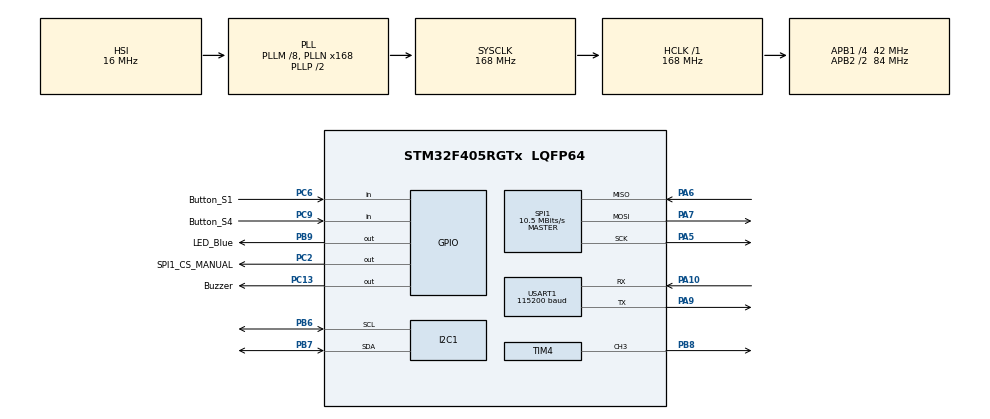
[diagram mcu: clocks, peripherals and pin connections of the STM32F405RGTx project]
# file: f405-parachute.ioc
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I2C1.I2C_Mode=I2C_Fast
Mcu.Family=STM32F4
Mcu.Name=STM32F405RGTx
Mcu.Package=LQFP64
NVIC.PriorityGroup=NVIC_PRIORITYGROUP_4
PA10.Mode=Asynchronous
PA10.Signal=USART1_RX
PA5.Mode=Full_Duplex_Master
PA5.Signal=SPI1_SCK
PA6.Mode=Full_Duplex_Master
PA6.Signal=SPI1_MISO
PA7.Mode=Full_Duplex_Master
PA7.Signal=SPI1_MOSI
PA9.Mode=Asynchronous
PA9.Signal=USART1_TX
PB6.Mode=I2C
PB6.Signal=I2C1_SCL
PB7.Mode=I2C
PB7.Signal=I2C1_SDA
PB8.Signal=S_TIM4_CH3
PB9.GPIO_Label=LED_Blue
PB9.Signal=GPIO_Output
PC13-ANTI_TAMP.GPIO_Label=Buzzer
PC13-ANTI_TAMP.GPIO_PuPd=GPIO_NOPULL
PC13-ANTI_TAMP.Signal=GPIO_Output
PC2.GPIO_Label=SPI1_CS_MANUAL
PC2.GPIO_PuPd=GPIO_PULLDOWN
PC2.PinState=GPIO_PIN_RESET
PC2.Signal=GPIO_Output
PC6.GPIO_Label=Button_S1
PC6.GPIO_PuPd=GPIO_PULLUP
PC6.Signal=GPIO_Input
PC9.GPIO_Label=Button_S4
PC9.GPIO_PuPd=GPIO_PULLUP
PC9.Signal=GPIO_Input
ProjectManager.HeapSize=0x200
ProjectManager.StackSize=0x400
ProjectManager.TargetToolchain=STM32CubeIDE
RCC.48MHZClocksFreq_Value=48000000
RCC.AHBFreq_Value=168000000
RCC.APB1CLKDivider=RCC_HCLK_DIV4
RCC.APB1Freq_Value=42000000
RCC.APB1TimFreq_Value=84000000
RCC.APB2CLKDivider=RCC_HCLK_DIV2
RCC.APB2Freq_Value=84000000
RCC.APB2TimFreq_Value=168000000
RCC.CortexFreq_Value=168000000
RCC.HCLKFreq_Value=168000000
RCC.HSE_VALUE=25000000
RCC.HSI_VALUE=16000000
RCC.LSE_VALUE=32768
RCC.PLLM=8
RCC.PLLN=168
RCC.PLLQ=7
RCC.SYSCLKFreq_VALUE=168000000
RCC.SYSCLKSource=RCC_SYSCLKSOURCE_PLLCLK
RCC.VCOOutputFreq_Value=336000000
SH.S_TIM4_CH3.0=TIM4_CH3,PWM Generation3 CH3
SPI1.BaudRatePrescaler=SPI_BAUDRATEPRESCALER_8
SPI1.CalculateBaudRate=10.5 MBits/s
SPI1.Direction=SPI_DIRECTION_2LINES
SPI1.Mode=SPI_MODE_MASTER
SPI1.VirtualType=VM_MASTER
TIM4.Channel-PWM\ Generation3\ CH3=TIM_CHANNEL_3
TIM4.Period=1000
TIM4.Prescaler=1680
USART1.BaudRate=115200
USART1.VirtualMode=VM_ASYNC
VP_RNG_VS_RNG.Mode=RNG_Activate
VP_TIM4_VS_ClockSourceINT.Mode=Internal
board=custom

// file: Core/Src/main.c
/* USER CODE BEGIN Header */
/**
  ******************************************************************************
  * @file           : main.c
  * @brief          : Main program body
  ******************************************************************************
  * @attention
  *
  * <h2><center>&copy; Copyright (c) 2021 STMicroelectronics.
  * All rights reserved.</center></h2>
  *
  * This software component is licensed by ST under BSD 3-Clause license,
  * the "License"; You may not use this file except in compliance with the
  * License. You may obtain a copy of the License at:
  *                        opensource.org/licenses/BSD-3-Clause
  *
  ******************************************************************************
  */
/* USER CODE END Header */
#include "main.h"

/* USER CODE BEGIN Includes */
#include <stdio.h>
#include <stdlib.h>
#include <stdarg.h>
#include <time.h>
#include <string.h>
#include <math.h>
#include "bmp280.h"
#include "icm20602.h"
/* USER CODE END Includes */

/* USER CODE BEGIN PM */

#define ICM_I2C_ADDR 0x69
/* sensor ODR limit */
#define MIN_ODR_US        1000
#define MAX_ODR_US       20000
#define DEFAULT_ODR_US   20000

/* USER CODE END PM */

I2C_HandleTypeDef hi2c1;

RNG_HandleTypeDef hrng;

SPI_HandleTypeDef hspi1;

TIM_HandleTypeDef htim4;

UART_HandleTypeDef huart1;

void SystemClock_Config(void);
static void MX_GPIO_Init(void);
static void MX_I2C1_Init(void);
static void MX_USART1_UART_Init(void);
static void MX_RNG_Init(void);
static void MX_SPI1_Init(void);
static void MX_TIM4_Init(void);

/* USER CODE BEGIN 0 */

// Minimal version, without OLED, builtin BEC and HC-12 module

#define Button_Debug_Pin Button_S1_Pin
#define Button_Pin Button_S4_Pin

char str_buffer[256] = "";

static void debug_printf(const char* format, ...) {
  static char buff[1024];
  va_list argptr;
  va_start(argptr, format);
  vsnprintf(buff, 1023, format, argptr);
  va_end(argptr);
  const size_t len = strlen(buff);
  HAL_UART_Transmit(&huart1, (uint8_t*)buff, len, 1000);
}

int8_t _icm20602_hal_rd(uint8_t id, uint8_t reg, uint8_t * data, uint16_t len) {
  reg |= 128; // set first bit to 1 to read from spi register
  HAL_GPIO_WritePin(GPIOC, SPI1_CS_MANUAL_Pin, GPIO_PIN_RESET);
  HAL_StatusTypeDef s;
  s = HAL_SPI_Transmit(&hspi1, &reg, 1, 1000);
  s = s ? s : HAL_SPI_Receive(&hspi1, data, len, 1000);
  HAL_GPIO_WritePin(GPIOC, SPI1_CS_MANUAL_Pin, GPIO_PIN_SET);
  return s;
}

int8_t _icm20602_hal_wr(uint8_t id, uint8_t reg, uint8_t * data, uint16_t len) {
  HAL_GPIO_WritePin(GPIOC, SPI1_CS_MANUAL_Pin, GPIO_PIN_RESET);
  HAL_StatusTypeDef s;
  s = HAL_SPI_Transmit(&hspi1, &reg, 1, 1000);
  s = s ? s : HAL_SPI_Transmit(&hspi1, data, len, 1000);
  HAL_GPIO_WritePin(GPIOC, SPI1_CS_MANUAL_Pin, GPIO_PIN_SET);
  return s;
}

float altitude_from_pressure_and_temp(float pressure, float temperature) {
  static float pressure0 = 101325;
  return ((pow(pressure0 / pressure, 1 / 5.257) - 1) * (temperature + 273.15)) / 0.0065;
}

float altitude_from_pressure(float pressure) {
  static float pressure0 = 101325;
  return  44330 * (1.0 - pow(pressure / pressure0, 0.1903));
}

float accel_abs(float ax, float ay, float az) {
  return sqrtf(powf(ax, 2) + pow(ay, 2) + pow(az, 2));
}

typedef struct {
  uint32_t interval;
  uint32_t last;
  uint32_t skipped;
} ticker_t;

ticker_t create_ticker(uint32_t interval) {
  return (ticker_t) { interval, 0, 0 };
}

bool tick(ticker_t* t) {
  uint32_t now = HAL_GetTick();
  if (now - t->last >= t->interval) {
    t->last = now;
    t->skipped = 0;
  } else
    t->skipped++;
  return !t->skipped;
}

typedef struct button_t {
  GPIO_TypeDef* GPIOx;
  uint16_t GPIO_Pin;
  uint32_t doubleclickInterval;
  uint32_t pressedAt;
  bool _reading1;
  bool _reading2;
  bool _reading3;
  bool pressed;
  bool changed;
  bool doubleclicked;
  bool toggleReleased;
  bool togglePressed;
  bool toggleDoubleclicked;
} button_t;

void update_button(button_t* button, uint32_t now) {
  button->_reading1 = button->_reading2;
  button->_reading2 = button->_reading3;
  button->_reading3 = !HAL_GPIO_ReadPin(button->GPIOx, button->GPIO_Pin);
  bool reading = button->_reading1 + button->_reading2 + button->_reading3 >= 2;
  button->doubleclicked = false;
  button->changed = false;
  if (button->pressed != reading) {
    button->pressed = reading;
    button->changed = true;
    if (button->pressed) {
      button->togglePressed = !button->togglePressed;
      if (now - button->pressedAt < button->doubleclickInterval) {
        button->doubleclicked = true;
        button->toggleDoubleclicked = !button->toggleDoubleclicked;
      }
      button->pressedAt = now;
    }
    else
      button->toggleReleased = !button->toggleReleased;
  } else
    button->changed = false;
}
void beep(uint8_t count, uint16_t duration, uint16_t silence) {
  for (uint8_t i = 0; i < count; i++) {
    HAL_GPIO_WritePin(GPIOC, Buzzer_Pin, GPIO_PIN_SET);
    HAL_Delay(duration);
    HAL_GPIO_WritePin(GPIOC, Buzzer_Pin, GPIO_PIN_RESET);
    HAL_Delay(silence);
  }
}

void on_armed() {
  HAL_GPIO_WritePin(GPIOB, LED_Blue_Pin, GPIO_PIN_RESET);
  beep(3, 50, 50);
}

void on_disarmed() {
  htim4.Instance->CCR3 =  75; // duty cycle is 1.5 ms -  90 deg
  beep(3, 50, 50);
}

void on_alarm() {
  //htim4.Instance->CCR3 =  25; // duty cycle is 0.5 ms -   0 deg
  //htim4.Instance->CCR3 =  75; // duty cycle is 1.5 ms -  90 deg
  htim4.Instance->CCR3 = 125; // duty cycle is 2.5 ms - 180 deg
}

/* USER CODE END 0 */

int main(void)
{

  /* MCU Configuration--------------------------------------------------------*/

  /* Reset of all peripherals, Initializes the Flash interface and the Systick. */
  HAL_Init();

  /* Configure the system clock */
  SystemClock_Config();

  /* Initialize all configured peripherals */
  MX_GPIO_Init();
  MX_I2C1_Init();
  MX_USART1_UART_Init();
  MX_RNG_Init();
  MX_SPI1_Init();
  MX_TIM4_Init();
  /* USER CODE BEGIN 2 */

  srand(HAL_GetTick());

  HAL_TIM_PWM_Start(&htim4, TIM_CHANNEL_3);

  struct icm20602_dev icm20602 = ICM20602_DEFAULT_INIT();
  icm20602.i2c_disable = true;
  icm20602.hal_sleep = HAL_Delay;
  icm20602.hal_rd = _icm20602_hal_rd;
  icm20602.hal_wr = _icm20602_hal_wr;
  icm20602.accel_dlpf = ICM20602_ACCEL_DLPF_BYPASS_1046_HZ;
  icm20602_init(&icm20602);

  ticker_t blink_ticker = create_ticker(1000);
  ticker_t blink_ticker_alarm = create_ticker(200);
  button_t button = { GPIOC, Button_Pin, 300 };

  ticker_t buzzer_alarm_ticker = create_ticker(200);
  ticker_t buzzer_disarm_ticker = create_ticker(500);

  bool armed = false;
  uint32_t arm_pressed = 0;
  uint32_t arm_timeout = 1000;

  bool alarm = false;

  bool low_g_detected = false;
  uint32_t low_g_detected_since = 0;
  float low_g_detection_range = 0.5;
  uint32_t low_g_detection_interval = 800;

  float baro_fall_detection_speed = 10;
  uint32_t baro_fall_detection_interval = 1000;

  on_disarmed();

  const uint8_t alts_count = 20;
  float alts[alts_count];
  uint32_t alt_times[alts_count];
  uint8_t alts_curr = 0;

  const uint8_t accs_count = 5;
  float accs[accs_count];
  uint8_t accs_curr = 0;

  BMP280_HandleTypedef bmp280;
  bmp280_init_default_params(&bmp280.params);
  bmp280.params.standby = BMP280_STANDBY_62;
  bmp280.addr = BMP280_I2C_ADDRESS_0;
  bmp280.i2c = &hi2c1;
  if (!bmp280_init(&bmp280, &bmp280.params))
    debug_printf("Baro init failed\n");

  // Initialize alt and accel

  HAL_Delay(100);

  float pressure, temperature, altitude, altitude_base;
  bmp280_read_float(&bmp280, &temperature, &pressure, NULL);
  altitude_base = altitude_from_pressure(pressure);
  altitude = altitude_base;
  for (uint16_t i = 0; i < alts_count; i++)
    alts[i] = altitude_base;

  float ax, ay, az;
  icm20602_read_accel(&icm20602, &ax, &ay, &az);
  float acceleration = accel_abs(ax, ay, az);
  for (uint16_t i = 0; i < accs_count; i++)
    accs[i] = acceleration;

  /* USER CODE END 2 */

  /* Infinite loop */
  /* USER CODE BEGIN WHILE */
  while (1) {

    uint32_t now = HAL_GetTick();

    update_button(&button, now);

    if (tick(&blink_ticker) && (!armed))
        HAL_GPIO_TogglePin(GPIOB, LED_Blue_Pin);

    if (tick(&buzzer_disarm_ticker) && (!armed))
      HAL_GPIO_TogglePin(GPIOC, Buzzer_Pin);

    if (tick(&blink_ticker_alarm) && alarm)
        HAL_GPIO_TogglePin(GPIOB, LED_Blue_Pin);

    if(alarm && tick(&buzzer_alarm_ticker))
      HAL_GPIO_TogglePin(GPIOC, Buzzer_Pin);

    if (button.pressed)
      altitude_base = altitude;

    if (button.pressed) {
      if (button.changed)
        arm_pressed = now;
    } else
      arm_pressed = 0;

    if (arm_pressed && now - arm_pressed > arm_timeout) {
      if (armed) {
        armed = false;
        arm_pressed = 0;
        alarm = false;
        on_disarmed();
      } else {
        armed = true;
        arm_pressed = 0;
        button.toggleDoubleclicked = true;
        on_armed();

        bmp280_read_float(&bmp280, &temperature, &pressure, NULL);
        altitude_base = altitude_from_pressure(pressure);
        altitude = altitude_base;
        for (uint16_t i = 0; i < alts_count; i++) {
          alts[i] = altitude_base;
          alt_times[i] = 0;
        }

        icm20602_read_accel(&icm20602, &ax, &ay, &az);
        acceleration = accel_abs(ax, ay, az);
        for (uint16_t i = 0; i < accs_count; i++)
          accs[i] = acceleration;
      }
    }

    if (armed && !alarm) {
      float ax_prev = ax, ay_prev = ay, az_prev = az;
      icm20602_read_accel(&icm20602, &ax, &ay, &az);
      if (ax != ax_prev || ay != ay_prev || az != az_prev) {

        float acceleration_now = accel_abs(ax, ay, az);
        accs[accs_curr] = acceleration_now;

        acceleration = 0;
        for (uint16_t i = 0; i < accs_count; i++)
          acceleration += accs[i];
        acceleration /= accs_count;

        if (acceleration_now < low_g_detection_range) {
          if (low_g_detected) {
            if (now - low_g_detected_since > low_g_detection_interval) {
              alarm = true;
              on_alarm();
            }
          } else {
            low_g_detected = true;
            low_g_detected_since = now;
          }
        } else {
          low_g_detected = false;
        }

        float low_g_time = !low_g_detected ? 0 : ((now - low_g_detected_since) / (float)low_g_detection_interval);
        low_g_time = low_g_time > 3 ? 3 : low_g_time;

        if (button.toggleDoubleclicked){
          //debug_printf("min:-3 max:3 1:1 x:%f y:%f z:%f cur:%f avg:%f t:%f\n", ax, ay, az, acceleration_now, acceleration, low_g_time);
        }
        accs_curr = (accs_curr + 1) % accs_count;
      }

      float pressure_prev = pressure;
      float temperature_prev = temperature;
      bmp280_read_float(&bmp280, &temperature, &pressure, NULL);

      if (pressure != pressure_prev || temperature != temperature_prev) {
        float altitude_now = altitude_from_pressure(pressure);
        alts[alts_curr] = altitude_now;
        alt_times[alts_curr] = now;
        altitude = 0;
        for (uint16_t i = 0; i < alts_count; i++)
          altitude += alts[i] / alts_count;

        float alt_diff = 0;
        for (uint16_t i = 0; i < alts_count - 2; i++) {
          uint16_t i0 = (alts_count + alts_curr - i - 1) % alts_count;
          uint16_t i1 = (alts_count + alts_curr - i) % alts_count;
          bool timely = now - alt_times[i0] < baro_fall_detection_interval;
          if (!timely) break;
          alt_diff += alts[i1] - alts[i0];
        }

        if (alt_diff <= -baro_fall_detection_speed) {
          alarm = true;
          on_alarm();
        }

        alts_curr = (alts_curr + 1) % alts_count;

        if (button.toggleDoubleclicked) {
          debug_printf("min:%f cur:%f avg:%f dif:%f\n", -baro_fall_detection_speed, altitude_now - altitude_base, altitude - altitude_base, alt_diff);
        }
      }

    }
    /* USER CODE END WHILE */

  }
}

void SystemClock_Config(void)
{
  RCC_OscInitTypeDef RCC_OscInitStruct = {0};
  RCC_ClkInitTypeDef RCC_ClkInitStruct = {0};

  /** Configure the main internal regulator output voltage
  */
  __HAL_RCC_PWR_CLK_ENABLE();
  __HAL_PWR_VOLTAGESCALING_CONFIG(PWR_REGULATOR_VOLTAGE_SCALE1);
  /** Initializes the RCC Oscillators according to the specified parameters
  * in the RCC_OscInitTypeDef structure.
  */
  RCC_OscInitStruct.OscillatorType = RCC_OSCILLATORTYPE_HSI;
  RCC_OscInitStruct.HSIState = RCC_HSI_ON;
  RCC_OscInitStruct.HSICalibrationValue = RCC_HSICALIBRATION_DEFAULT;
  RCC_OscInitStruct.PLL.PLLState = RCC_PLL_ON;
  RCC_OscInitStruct.PLL.PLLSource = RCC_PLLSOURCE_HSI;
  RCC_OscInitStruct.PLL.PLLM = 8;
  RCC_OscInitStruct.PLL.PLLN = 168;
  RCC_OscInitStruct.PLL.PLLP = RCC_PLLP_DIV2;
  RCC_OscInitStruct.PLL.PLLQ = 7;
  if (HAL_RCC_OscConfig(&RCC_OscInitStruct) != HAL_OK)
  {
    Error_Handler();
  }
  /** Initializes the CPU, AHB and APB buses clocks
  */
  RCC_ClkInitStruct.ClockType = RCC_CLOCKTYPE_HCLK|RCC_CLOCKTYPE_SYSCLK
                              |RCC_CLOCKTYPE_PCLK1|RCC_CLOCKTYPE_PCLK2;
  RCC_ClkInitStruct.SYSCLKSource = RCC_SYSCLKSOURCE_PLLCLK;
  RCC_ClkInitStruct.AHBCLKDivider = RCC_SYSCLK_DIV1;
  RCC_ClkInitStruct.APB1CLKDivider = RCC_HCLK_DIV4;
  RCC_ClkInitStruct.APB2CLKDivider = RCC_HCLK_DIV2;

  if (HAL_RCC_ClockConfig(&RCC_ClkInitStruct, FLASH_LATENCY_5) != HAL_OK)
  {
    Error_Handler();
  }
}

static void MX_I2C1_Init(void)
{

  hi2c1.Instance = I2C1;
  hi2c1.Init.ClockSpeed = 400000;
  hi2c1.Init.DutyCycle = I2C_DUTYCYCLE_2;
  hi2c1.Init.OwnAddress1 = 0;
  hi2c1.Init.AddressingMode = I2C_ADDRESSINGMODE_7BIT;
  hi2c1.Init.DualAddressMode = I2C_DUALADDRESS_DISABLE;
  hi2c1.Init.OwnAddress2 = 0;
  hi2c1.Init.GeneralCallMode = I2C_GENERALCALL_DISABLE;
  hi2c1.Init.NoStretchMode = I2C_NOSTRETCH_DISABLE;
  if (HAL_I2C_Init(&hi2c1) != HAL_OK)
  {
    Error_Handler();
  }

}

static void MX_RNG_Init(void)
{

  hrng.Instance = RNG;
  if (HAL_RNG_Init(&hrng) != HAL_OK)
  {
    Error_Handler();
  }

}

static void MX_SPI1_Init(void)
{

  /* SPI1 parameter configuration*/
  hspi1.Instance = SPI1;
  hspi1.Init.Mode = SPI_MODE_MASTER;
  hspi1.Init.Direction = SPI_DIRECTION_2LINES;
  hspi1.Init.DataSize = SPI_DATASIZE_8BIT;
  hspi1.Init.CLKPolarity = SPI_POLARITY_LOW;
  hspi1.Init.CLKPhase = SPI_PHASE_1EDGE;
  hspi1.Init.NSS = SPI_NSS_SOFT;
  hspi1.Init.BaudRatePrescaler = SPI_BAUDRATEPRESCALER_8;
  hspi1.Init.FirstBit = SPI_FIRSTBIT_MSB;
  hspi1.Init.TIMode = SPI_TIMODE_DISABLE;
  hspi1.Init.CRCCalculation = SPI_CRCCALCULATION_DISABLE;
  hspi1.Init.CRCPolynomial = 10;
  if (HAL_SPI_Init(&hspi1) != HAL_OK)
  {
    Error_Handler();
  }

}

static void MX_TIM4_Init(void)
{

  TIM_ClockConfigTypeDef sClockSourceConfig = {0};
  TIM_MasterConfigTypeDef sMasterConfig = {0};
  TIM_OC_InitTypeDef sConfigOC = {0};

  htim4.Instance = TIM4;
  htim4.Init.Prescaler = 1680;
  htim4.Init.CounterMode = TIM_COUNTERMODE_UP;
  htim4.Init.Period = 1000;
  htim4.Init.ClockDivision = TIM_CLOCKDIVISION_DIV1;
  htim4.Init.AutoReloadPreload = TIM_AUTORELOAD_PRELOAD_DISABLE;
  if (HAL_TIM_Base_Init(&htim4) != HAL_OK)
  {
    Error_Handler();
  }
  sClockSourceConfig.ClockSource = TIM_CLOCKSOURCE_INTERNAL;
  if (HAL_TIM_ConfigClockSource(&htim4, &sClockSourceConfig) != HAL_OK)
  {
    Error_Handler();
  }
  if (HAL_TIM_PWM_Init(&htim4) != HAL_OK)
  {
    Error_Handler();
  }
  sMasterConfig.MasterOutputTrigger = TIM_TRGO_RESET;
  sMasterConfig.MasterSlaveMode = TIM_MASTERSLAVEMODE_DISABLE;
  if (HAL_TIMEx_MasterConfigSynchronization(&htim4, &sMasterConfig) != HAL_OK)
  {
    Error_Handler();
  }
  sConfigOC.OCMode = TIM_OCMODE_PWM1;
  sConfigOC.Pulse = 0;
  sConfigOC.OCPolarity = TIM_OCPOLARITY_HIGH;
  sConfigOC.OCFastMode = TIM_OCFAST_DISABLE;
  if (HAL_TIM_PWM_ConfigChannel(&htim4, &sConfigOC, TIM_CHANNEL_3) != HAL_OK)
  {
    Error_Handler();
  }
  HAL_TIM_MspPostInit(&htim4);

}

static void MX_USART1_UART_Init(void)
{

  huart1.Instance = USART1;
  huart1.Init.BaudRate = 115200;
  huart1.Init.WordLength = UART_WORDLENGTH_8B;
  huart1.Init.StopBits = UART_STOPBITS_1;
  huart1.Init.Parity = UART_PARITY_NONE;
  huart1.Init.Mode = UART_MODE_TX_RX;
  huart1.Init.HwFlowCtl = UART_HWCONTROL_NONE;
  huart1.Init.OverSampling = UART_OVERSAMPLING_16;
  if (HAL_UART_Init(&huart1) != HAL_OK)
  {
    Error_Handler();
  }

}

static void MX_GPIO_Init(void)
{
  GPIO_InitTypeDef GPIO_InitStruct = {0};

  /* GPIO Ports Clock Enable */
  __HAL_RCC_GPIOC_CLK_ENABLE();
  __HAL_RCC_GPIOA_CLK_ENABLE();
  __HAL_RCC_GPIOB_CLK_ENABLE();

  /*Configure GPIO pin Output Level */
  HAL_GPIO_WritePin(GPIOC, Buzzer_Pin|SPI1_CS_MANUAL_Pin, GPIO_PIN_RESET);

  /*Configure GPIO pin Output Level */
  HAL_GPIO_WritePin(LED_Blue_GPIO_Port, LED_Blue_Pin, GPIO_PIN_RESET);

  /*Configure GPIO pin : Buzzer_Pin */
  GPIO_InitStruct.Pin = Buzzer_Pin;
  GPIO_InitStruct.Mode = GPIO_MODE_OUTPUT_PP;
  GPIO_InitStruct.Pull = GPIO_NOPULL;
  GPIO_InitStruct.Speed = GPIO_SPEED_FREQ_LOW;
  HAL_GPIO_Init(Buzzer_GPIO_Port, &GPIO_InitStruct);

  /*Configure GPIO pin : SPI1_CS_MANUAL_Pin */
  GPIO_InitStruct.Pin = SPI1_CS_MANUAL_Pin;
  GPIO_InitStruct.Mode = GPIO_MODE_OUTPUT_PP;
  GPIO_InitStruct.Pull = GPIO_PULLDOWN;
  GPIO_InitStruct.Speed = GPIO_SPEED_FREQ_LOW;
  HAL_GPIO_Init(SPI1_CS_MANUAL_GPIO_Port, &GPIO_InitStruct);

  /*Configure GPIO pins : Button_S1_Pin Button_S4_Pin */
  GPIO_InitStruct.Pin = Button_S1_Pin|Button_S4_Pin;
  GPIO_InitStruct.Mode = GPIO_MODE_INPUT;
  GPIO_InitStruct.Pull = GPIO_PULLUP;
  HAL_GPIO_Init(GPIOC, &GPIO_InitStruct);

  /*Configure GPIO pin : LED_Blue_Pin */
  GPIO_InitStruct.Pin = LED_Blue_Pin;
  GPIO_InitStruct.Mode = GPIO_MODE_OUTPUT_PP;
  GPIO_InitStruct.Pull = GPIO_NOPULL;
  GPIO_InitStruct.Speed = GPIO_SPEED_FREQ_LOW;
  HAL_GPIO_Init(LED_Blue_GPIO_Port, &GPIO_InitStruct);

}

/* USER CODE BEGIN 4 */

//point_t scale(point_t p, point_t s);

/* USER CODE END 4 */

void Error_Handler(void)
{
  __disable_irq();
  while (1)
  {
  }
}
